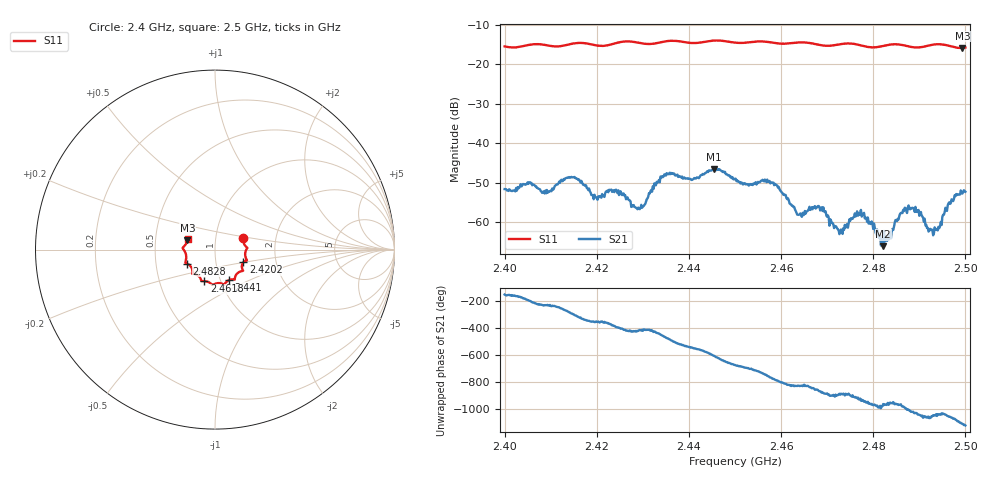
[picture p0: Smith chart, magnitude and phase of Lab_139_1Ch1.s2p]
# Hz S RI R 50
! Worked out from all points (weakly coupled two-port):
!   601 points, 2.4 GHz to 2.5 GHz, reference 50 ohm
!   highest |S21| = -46.59 dB at 2.4455 GHz (marker M1); lowest = -66.2 dB at 2.4822 GHz (marker M2)
!   lowest |S11| = -15.8 dB at 2.4993 GHz (marker M3), VSWR 1.39, Z = 36.5 + j3.85 ohm
!   |S11| at or under -10 dB: start of sweep to end of sweep
!   S12 and S22 are empty: the file has one direction only
!   S11 on the Smith chart (normalised r, x): 2.4 GHz: 1.36, +0.18; 2.4202 GHz: 1.36, -0.20; 2.441 GHz: 1.10, -0.39; 2.4618 GHz: 0.84, -0.30; 2.4828 GHz: 0.72, -0.12; 2.5 GHz: 0.73, +0.09
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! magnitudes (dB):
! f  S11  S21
! 2.4 GHz  -15.4  -51.6
! 2.4167 GHz  -14.5  -49.6
! 2.4202 GHz  -15.2  -54.4
! 2.4242 GHz  -14.6  -51.8
! 2.429 GHz  -14.5  -56.4
! 2.4333 GHz  -14.5  -49.8
! 2.441 GHz  -14.6  -49.1
! 2.4455 GHz  -13.9  -46.6
! 2.45 GHz  -14.5  -49.0
! 2.4578 GHz  -14.4  -50.0
! 2.4618 GHz  -14.6  -55.3
! 2.464 GHz  -14.4  -58.1
! 2.4667 GHz  -14.6  -56.2
! 2.4728 GHz  -14.9  -62.2
! 2.4775 GHz  -15.2  -58.6
! 2.4822 GHz  -15.3  -66.2
! 2.4828 GHz  -15.1  -63.6
! 2.4833 GHz  -15.0  -64.5
! 2.488 GHz  -15.5  -56.8
! 2.4935 GHz  -14.9  -61.9
! 2.4993 GHz  -15.8  -52.8
! 2.5 GHz  -15.7  -52.3
